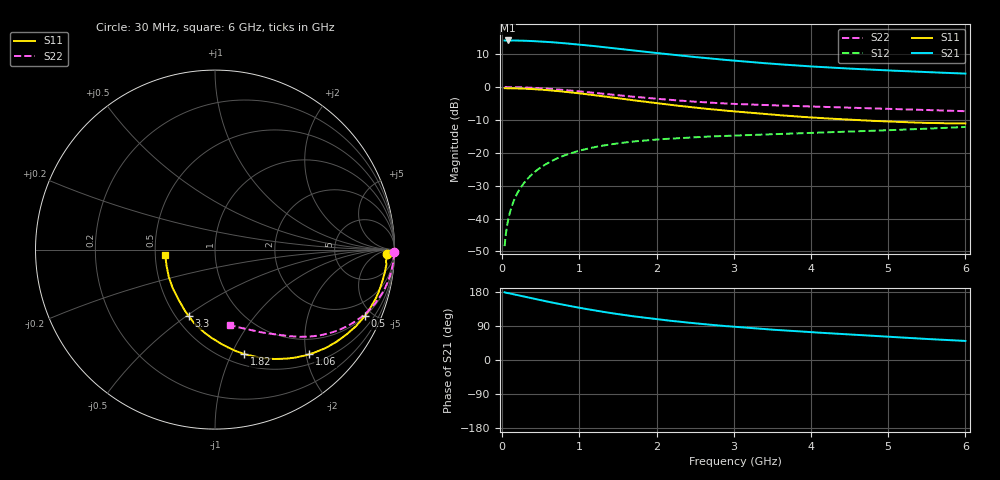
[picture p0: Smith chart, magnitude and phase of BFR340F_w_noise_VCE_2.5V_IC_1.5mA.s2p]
! Infineon Technologies  Discrete & RF Semiconductors
! BFR340F
! VCE =  2.5 V,  IC =  1.5 mA
! Common Emitter S-Parameters:  Nov 2015
# GHz  S  MA  R  50
!  f  S11  S21  S12  S22
! GHz  MAG  ANG  MAG  ANG  MAG  ANG  MAG  ANG
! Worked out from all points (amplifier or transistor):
!   206 points, 30 MHz to 6 GHz, reference 50 ohm
!   highest |S21| = 14.1 dB at 70 MHz (marker M1)
!   |S21| within 3 dB of that: start of sweep to 1.687 GHz
!   unconditionally stable (mu >= 1): 5.124 GHz to end of sweep
!   at 200 MHz: K = 0.05, MSG = 23.1 dB, |S12| = -32.1 dB
!   at 1.56 GHz: K = 0.43, MSG = 14.2 dB, |S12| = -17.0 dB
!   at 6 GHz: K = 1.03, MAG = 7.0 dB, |S12| = -12.2 dB
!   lowest NFmin = 0.73 dB at 450 MHz
!   S11 on the Smith chart (normalised r, x): 30 MHz: 35, -20; 500 MHz: 1.01, -4.51; 1.06 GHz: 0.68, -2.07; 1.82 GHz: 0.61, -1.12; 3.3 GHz: 0.58, -0.51; 6 GHz: 0.56, -0.04
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0.03  0.9582 -1.4  5.091 178.8  0.0038 88.3  0.9971 -0.9
0.055  0.9565 -2.8  5.055 177.1  0.0069 87.5  0.997 -1.8
0.07  0.9553 -3.6  5.098 176.5  0.0088 87.6  0.9973 -2.3
0.13  0.9559 -6.3  5.082 174.4  0.0163 86.1  0.9948 -4.2
0.22  0.9488 -10.7  5.073 170.2  0.0273 83.1  0.9891 -7.2
0.34  0.9372 -16.4  5.022 164.9  0.0418 79.7  0.9778 -11.0
0.5  0.913 -23.9  4.912 157.9  0.0601 75.1  0.956 -15.9
0.6  0.8939 -28.5  4.833 153.5  0.0708 72.3  0.9396 -18.9
0.78  0.8535 -36.3  4.653 146.2  0.0887 67.8  0.9047 -23.8
1.04  0.79 -47.1  4.363 136.3  0.1106 61.7  0.8487 -30.3
1.06  0.785 -47.9  4.339 135.6  0.1121 61.3  0.8443 -30.8
1.2  0.7494 -53.4  4.178 130.6  0.1221 58.5  0.8131 -33.9
1.4  0.6996 -60.7  3.933 124.1  0.134 55.0  0.7695 -37.9
1.6  0.6498 -67.6  3.707 118.0  0.1439 52.0  0.7293 -41.4
1.82  0.6037 -74.4  3.463 112.2  0.1529 49.4  0.6904 -44.7
2.02  0.5643 -80.2  3.264 107.2  0.1597 47.5  0.659 -47.3
2.58  0.4747 -95.5  2.793 95.2  0.1741 43.9  0.5887 -53.6
3.1  0.416 -107.7  2.46 86.3  0.1841 42.4  0.5477 -58.2
3.3  0.397 -111.7  2.352 83.3  0.1875 42.1  0.5368 -59.6
4.1  0.3385 -128.3  2.022 72.2  0.2016 42.4  0.5019 -64.2
5.1  0.2954 -151.6  1.764 60.1  0.2224 44.0  0.4605 -71.5
6  0.2792 -173.5  1.599 50.3  0.2468 45.9  0.4286 -78.8
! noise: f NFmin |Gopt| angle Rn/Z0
0.45  0.73  0.76  4  0.5
0.9  0.74  0.73  13  0.54
1.9  1.08  0.59  24  0.46
2.4  1.18  0.55  34  0.44
